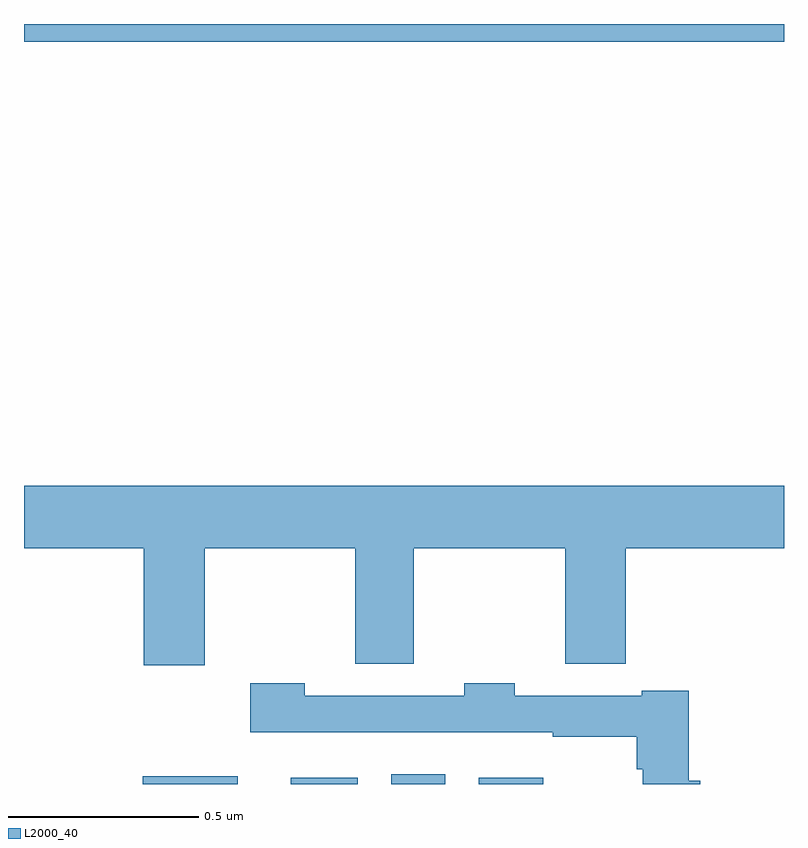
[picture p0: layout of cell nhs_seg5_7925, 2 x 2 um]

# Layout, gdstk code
import gdstk
lib = gdstk.Library(unit=1e-6, precision=1e-09)
def R(c, l, rs):  # rectangles x0, y0, x1, y1
    for r in rs: c.add(gdstk.rectangle(r[:2], r[2:], *l))
def P(c, l, *ps):  # polygons
    for p in ps: c.add(gdstk.Polygon(p, *l))
L2000_40 = (2000, 40)

nhs_seg5_7925 = lib.new_cell('nhs_seg5_7925')
R(nhs_seg5_7925, L2000_40, [(215.312,862.799,215.563,862.819), (215.702,862.799,215.878,862.816), (215.966,862.799,216.109,862.825), (216.197,862.799,216.367,862.816), (215,864.752,217,864.799)])
P(nhs_seg5_7925, L2000_40, [(215,863.42),(215.315,863.42),(215.315,863.112),(215.475,863.112),(215.475,863.42),(215.872,863.42),(215.872,863.116),(216.026,863.116),(216.026,863.42),(216.424,863.42),(216.424,863.116),(216.584,863.116),(216.584,863.42),(217,863.42),(217,863.584),(215,863.584)],
  [(216.779,862.807),(216.749,862.807),(216.749,863.044),(216.626,863.044),(216.626,863.031),(216.291,863.031),(216.291,863.064),(216.159,863.064),(216.159,863.031),(215.739,863.031),(215.739,863.064),(215.595,863.064),(215.595,862.935),(216.391,862.935),(216.391,862.923),(216.613,862.923),(216.613,862.838),(216.628,862.838),(216.628,862.799),(216.779,862.799)])

lib.write_gds('nhs_seg5_7925.gds')
